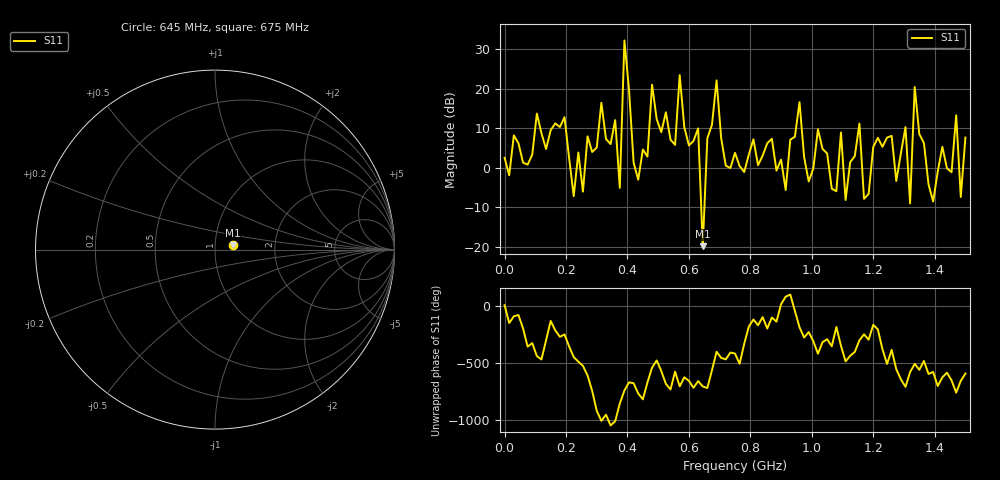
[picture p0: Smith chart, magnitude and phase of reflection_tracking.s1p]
! Created with skrf 1.8.0 (http://scikit-rf.org).
# Hz S RI R 50.0
!freq ReS11 ImS11
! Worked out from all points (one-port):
!   101 points, 50 kHz to 1.5 GHz, reference 50 ohm
!   lowest |S11| = -19.9 dB at 645 MHz (marker M1), VSWR 1.23, Z = 60.8 + j3.12 ohm
!   |S11| at or under -10 dB: 640.1 MHz to 650.4 MHz (10.38 MHz wide, 1.61 % of centre)
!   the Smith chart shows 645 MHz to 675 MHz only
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50000  1.326 0.1448
1.050465e8  0.9184 -4.771
1.950435e8  -1.536 4.09
2.850405e8  1.45 -0.6329
3.150395e8  1.882 6.391
3.750375e8  -0.3892 -0.3961
3.90037e8  38.34 -14.62
4.050365e8  6.117 7.556
4.20036e8  0.8489 0.789
4.650345e8  0.8836 1.064
4.80034e8  -11.29 0.0191
5.250325e8  3.994 3.08
5.550315e8  -1.583 1.133
5.70031e8  14.35 4.031
5.850305e8  -0.3094 3.243
6.450285e8  0.0981 0.0254
6.750275e8  -3.207 1.384
6.90027e8  9.627 -8.408
7.050265e8  -0.1888 -2.366
7.50025e8  0.8425 -1.296
9.450185e8  1.795 -1.692
9.60018e8  -6.74 0.7798
9.750175e8  0.1573 1.355
1.125012e9  0.2677 -1.144
1.320006e9  -0.2731 0.2233
1.335006e9  -8.898 -5.685
1.380004e9  -0.3461 0.5082
1.5e9  -1.478 1.908
